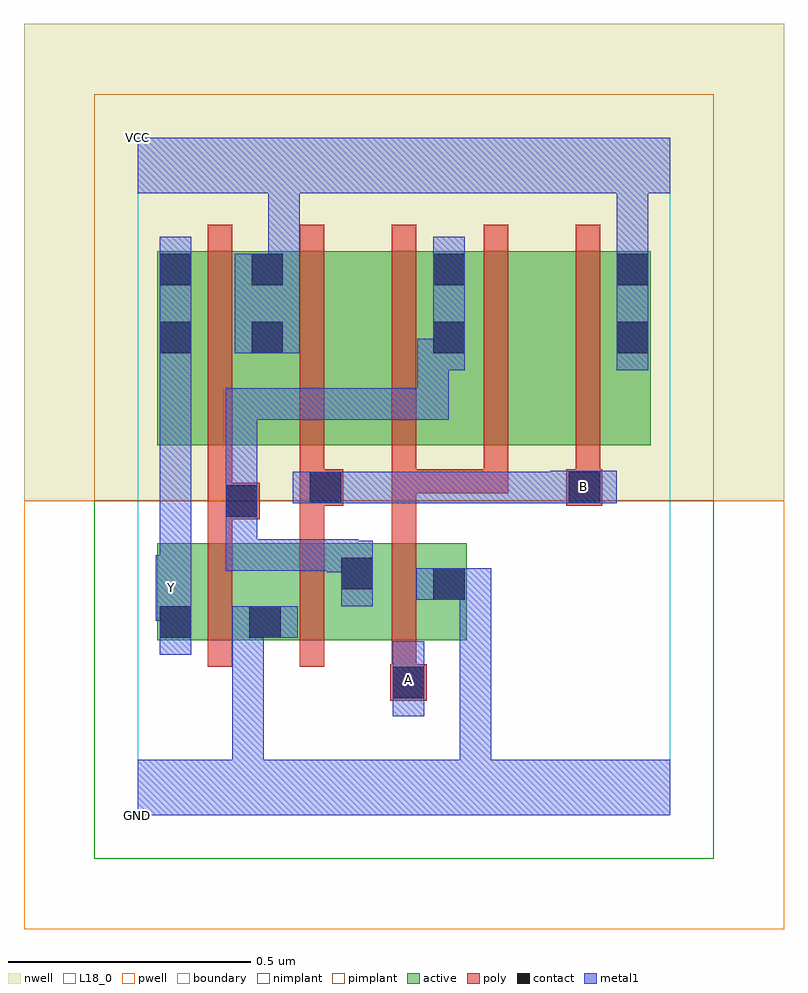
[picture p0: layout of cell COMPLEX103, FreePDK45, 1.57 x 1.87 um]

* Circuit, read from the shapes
.subckt COMPLEX103 A B GND VCC Y
M1 GND n1 Y VSUBS nfet w=0.2u l=0.05u
M2 n1 B GND VSUBS nfet w=0.2u l=0.05u
M3 GND A n1 VSUBS nfet w=0.2u l=0.05u
M4 VCC n1 Y n2 pfet w=0.4u l=0.05u
M5 n3 B VCC n2 pfet w=0.4u l=0.05u
M6 n1 A n3 n2 pfet w=0.4u l=0.05u
M7 n4 A n1 n2 pfet w=0.4u l=0.05u
M8 VCC B n4 n2 pfet w=0.4u l=0.05u
.ends

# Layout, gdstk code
import gdstk
lib = gdstk.Library(unit=1e-6, precision=1e-09)
def R(c, l, rs):  # rectangles x0, y0, x1, y1
    for r in rs: c.add(gdstk.rectangle(r[:2], r[2:], *l))
def A(c, l, x, y, w, h, nx, ny, dx, dy):  # array of equal rectangles
    R(c, l, [(x+i*dx, y+j*dy, x+i*dx+w, y+j*dy+h) for i in range(nx) for j in range(ny)])
active = (1, 0)
pwell = (2, 0)
nwell = (3, 0)
nimplant = (4, 0)
pimplant = (5, 0)
poly = (9, 0)
contact = (10, 0)
metal1 = (11, 0)
L18_0 = (18, 0)
boundary = (235, 0)

complex103 = lib.new_cell('COMPLEX103')
R(complex103, active, [(0.04,0.362,0.115,0.562), (0.04,0.362,0.3,0.562), (0.225,0.362,0.49,0.562), (0.225,0.362,0.3,0.437), (0.415,0.362,0.49,0.562), (0.415,0.362,0.68,0.562), (0.605,0.362,0.68,0.562), (0.04,0.765,0.115,1.165), (0.04,0.765,0.305,1.165), (0.23,0.765,0.455,1.165), (0.455,0.765,0.68,1.165), (0.605,0.765,0.835,1.165), (0.835,0.765,1.06,1.165), (0.985,0.765,1.06,1.165), (0.23,0.907,0.305,1.165), (0.605,0.907,0.68,1.165)])
R(complex103, pwell, [(-0.235,-0.235,1.335,0.65)])
R(complex103, nwell, [(-0.235,0.65,1.335,1.635)])
R(complex103, nimplant, [(-0.09,-0.09,1.19,0.65)])
R(complex103, pimplant, [(-0.09,0.65,1.19,1.49)])
A(complex103, poly, 0.145, 0.307, 0.05, 0.31, 3, 1, 0.19, 0)
A(complex103, poly, 0.335, 0.665, 0.05, 0.095, 4, 1, 0.19, 0)
A(complex103, poly, 0.335, 0.71, 0.05, 0.51, 4, 1, 0.19, 0)
R(complex103, poly, [(0.522,0.237,0.597,0.312), (0.525,0.262,0.575,0.357), (0.145,0.567,0.195,0.662), (0.335,0.567,0.385,0.69), (0.525,0.567,0.575,0.715), (0.145,0.612,0.252,0.687), (0.145,0.637,0.195,0.687), (0.145,0.637,0.195,1.22), (0.335,0.64,0.425,0.715), (0.885,0.64,0.96,0.715), (0.525,0.665,0.765,0.715), (0.525,0.665,0.575,0.715), (0.525,0.665,0.575,0.715), (0.525,0.665,0.575,0.715), (0.715,0.665,0.765,0.715)])
R(complex103, contact, [(0.527,0.242,0.592,0.307), (0.045,0.367,0.11,0.432), (0.23,0.367,0.295,0.432), (0.61,0.445,0.675,0.51), (0.42,0.467,0.485,0.532), (0.182,0.617,0.247,0.682), (0.355,0.645,0.42,0.71), (0.89,0.645,0.955,0.71), (0.045,0.955,0.11,1.02), (0.235,0.955,0.3,1.02), (0.61,0.955,0.675,1.02), (0.99,0.955,1.055,1.02), (0.045,1.095,0.11,1.16), (0.235,1.095,0.3,1.16), (0.61,1.095,0.675,1.16), (0.99,1.095,1.055,1.16)])
R(complex103, metal1, [(0,0,1.1,0.115), (0.195,0.05,0.26,0.115), (0.195,0.05,0.26,0.115), (0.195,0.05,0.26,0.115), (0.195,0.05,0.26,0.115), (0.195,0.05,0.26,0.115), (0.195,0.05,0.26,0.115), (0.195,0.05,0.26,0.432), (0.665,0.05,0.73,0.115), (0.665,0.05,0.73,0.115), (0.665,0.05,0.73,0.115), (0.665,0.05,0.73,0.115), (0.665,0.05,0.73,0.51), (0.527,0.205,0.592,0.36), (0.045,0.332,0.11,0.467), (0.195,0.367,0.33,0.432), (0.037,0.402,0.11,0.537), (0.045,0.402,0.11,0.467), (0.42,0.432,0.485,0.567), (0.575,0.445,0.73,0.51), (0.665,0.445,0.73,0.51), (0.665,0.445,0.73,0.51), (0.045,0.472,0.11,0.985), (0.39,0.502,0.485,0.567), (0.39,0.502,0.455,0.57), (0.182,0.505,0.247,0.57), (0.182,0.505,0.455,0.57), (0.182,0.505,0.247,0.717), (0.182,0.582,0.247,0.717), (0.32,0.645,0.455,0.71), (0.39,0.645,0.455,0.71), (0.39,0.645,0.455,0.71), (0.39,0.645,0.592,0.71), (0.527,0.645,0.592,0.71), (0.527,0.645,0.592,0.71), (0.527,0.645,0.592,0.71), (0.527,0.645,0.78,0.71), (0.715,0.645,0.78,0.71), (0.715,0.645,0.78,0.71), (0.715,0.645,0.78,0.71), (0.715,0.645,0.917,0.71), (0.852,0.645,0.99,0.712), (0.182,0.652,0.247,0.717), (0.182,0.652,0.247,0.717), (0.182,0.652,0.247,0.882), (0.182,0.817,0.247,0.882), (0.182,0.817,0.455,0.882), (0.39,0.817,0.455,0.882), (0.39,0.817,0.455,0.882), (0.39,0.817,0.455,0.882), (0.39,0.817,0.642,0.882), (0.577,0.817,0.642,0.985), (0.045,0.92,0.11,1.195), (0.577,0.92,0.675,0.985), (0.61,0.92,0.675,1.195), (0.99,0.92,1.055,1.195), (0.2,0.955,0.335,1.16), (0.27,1.095,0.335,1.207), (0.99,1.13,1.055,1.195), (0.99,1.13,1.055,1.195), (0.99,1.13,1.055,1.35), (0.27,1.142,0.335,1.207), (0.27,1.142,0.335,1.35), (0,1.285,1.1,1.4)])
R(complex103, L18_0, [(0,0,1.1,0.115), (0.195,0.05,0.26,0.115), (0.195,0.05,0.26,0.115), (0.195,0.05,0.26,0.115), (0.195,0.05,0.26,0.115), (0.195,0.05,0.26,0.115), (0.195,0.05,0.26,0.115), (0.195,0.05,0.26,0.432), (0.665,0.05,0.73,0.115), (0.665,0.05,0.73,0.115), (0.665,0.05,0.73,0.115), (0.665,0.05,0.73,0.115), (0.665,0.05,0.73,0.51), (0.527,0.205,0.592,0.36), (0.527,0.247,0.592,0.312), (0.045,0.332,0.11,0.467), (0.195,0.367,0.33,0.432), (0.037,0.402,0.11,0.537), (0.045,0.402,0.11,0.467), (0.037,0.437,0.102,0.502), (0.575,0.445,0.73,0.51), (0.665,0.445,0.73,0.51), (0.665,0.445,0.73,0.51), (0.045,0.472,0.11,0.985), (0.32,0.645,0.455,0.71), (0.39,0.645,0.455,0.71), (0.39,0.645,0.455,0.71), (0.39,0.645,0.592,0.71), (0.527,0.645,0.592,0.71), (0.527,0.645,0.592,0.71), (0.527,0.645,0.592,0.71), (0.527,0.645,0.78,0.71), (0.715,0.645,0.78,0.71), (0.715,0.645,0.78,0.71), (0.715,0.645,0.78,0.71), (0.715,0.645,0.917,0.71), (0.852,0.645,0.99,0.712), (0.887,0.647,0.952,0.712), (0.045,0.92,0.11,1.195), (0.99,0.92,1.055,1.195), (0.2,0.955,0.335,1.16), (0.27,1.095,0.335,1.207), (0.99,1.13,1.055,1.195), (0.99,1.13,1.055,1.195), (0.99,1.13,1.055,1.35), (0.27,1.142,0.335,1.207), (0.27,1.142,0.335,1.35), (0,1.285,1.1,1.4)])
R(complex103, boundary, [(0,0,1.1,1.4)])
complex103.add(gdstk.Label('A', (0.56,0.28), layer=11, texttype=0))
complex103.add(gdstk.Label('B', (0.92,0.68), layer=11, texttype=0))
complex103.add(gdstk.Label('Y', (0.07,0.47), layer=11, texttype=0))
complex103.add(gdstk.Label('VCC', (0,1.4), layer=11, texttype=0))
complex103.add(gdstk.Label('GND', (0,0), layer=11, texttype=0))

lib.write_gds('COMPLEX103.gds')
